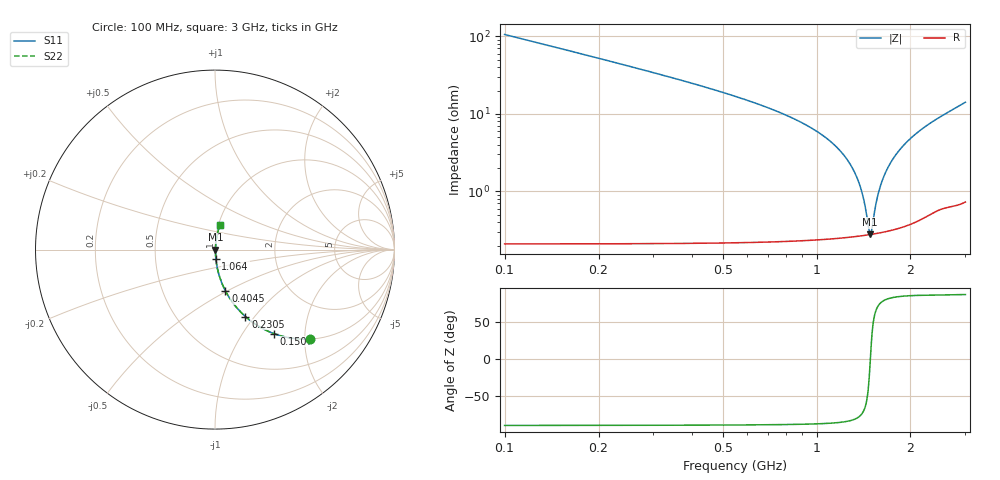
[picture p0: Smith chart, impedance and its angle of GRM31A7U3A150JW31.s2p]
!Murata Part Number: GRM31A7U3A150JW31
!These Parameters are Measured in Series Mode Connection
!Data Generated on Mar 30, 2021
!  o--ll--o
!Port1  Port2
!  o------o
!Operation Temp=25[degC], DC Bias Voltage=0[V]
!Freq. Start=100[MHz] Stop=3[GHz] 401[Steps]
# Hz S RI R 50
!Freq.(Hz) S11(Real) S11(Imag) S21(Real) S21(Imag) S12(Real) S12(Imag) S22(Real) S22(Imag)
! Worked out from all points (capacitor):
!   401 points, 100 MHz to 3 GHz, reference 50 ohm
!   read as one part in series: C = 15 pF near 114.5 MHz
!   lowest |Z| = 279 mohm at 1.485 GHz (marker M1)
!   series resonance near 1.488 GHz, so ESL is about 760 pH
!   S11 on the Smith chart (normalised r, x): 100 MHz: 1.00, -2.11; 150.8 MHz: 1.00, -1.39; 230.5 MHz: 1.00, -0.90; 404.5 MHz: 1.00, -0.49; 1.064 GHz: 1.00, -0.10; 3 GHz: 1.01, +0.28
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1e8  0.5274 -0.4983  0.4726 0.4983  0.4726 0.4983  0.5274 -0.4983
1.5075e8  0.3275 -0.4678  0.6725 0.4678  0.6725 0.4678  0.3275 -0.4678
2.305e8  0.1695 -0.3729  0.8305 0.3729  0.8305 0.3729  0.1695 -0.3729
4.045e8  0.058 -0.2293  0.942 0.2293  0.942 0.2293  0.058 -0.2293
5.8575e8  0.0253 -0.1502  0.9747 0.1502  0.9747 0.1502  0.0253 -0.1502
1.06425e9  0.00489 -0.0498  0.9951 0.0498  0.9951 0.0498  0.00489 -0.0498
1.0715e9  0.0048 -0.0488  0.9952 0.0488  0.9952 0.0488  0.0048 -0.0488
1.231e9  0.00332 -0.0281  0.9967 0.0281  0.9967 0.0281  0.00332 -0.0281
1.33975e9  0.00286 -0.0156  0.9971 0.0156  0.9971 0.0156  0.00286 -0.0156
1.405e9  0.00275 -0.00856  0.9972 0.00856  0.9972 0.00856  0.00275 -0.00856
1.434e9  0.00274 -0.00551  0.9973 0.00551  0.9973 0.00551  0.00274 -0.00551
1.47025e9  0.00276 -0.00176  0.9972 0.00176  0.9972 0.00176  0.00276 -0.00176
1.48475e9  0.00277 -0.000286  0.9972 0.000286  0.9972 0.000286  0.00277 -0.000286
1.5065e9  0.0028 0.00191  0.9972 -0.00191  0.9972 -0.00191  0.0028 0.00191
1.55e9  0.00289 0.00623  0.9971 -0.00623  0.9971 -0.00623  0.00289 0.00623
1.579e9  0.00297 0.00907  0.997 -0.00907  0.997 -0.00907  0.00297 0.00907
1.61525e9  0.0031 0.0126  0.9969 -0.0126  0.9969 -0.0126  0.0031 0.0126
1.71675e9  0.00359 0.0221  0.9964 -0.0221  0.9964 -0.0221  0.00359 0.0221
1.8545e9  0.00458 0.0347  0.9954 -0.0347  0.9954 -0.0347  0.00458 0.0347
2.03575e9  0.00644 0.0506  0.9936 -0.0506  0.9936 -0.0506  0.00644 0.0506
2.5215e9  0.0145 0.0921  0.9855 -0.0921  0.9855 -0.0921  0.0145 0.0921
3e9  0.0264 0.1365  0.9736 -0.1365  0.9736 -0.1365  0.0264 0.1365
